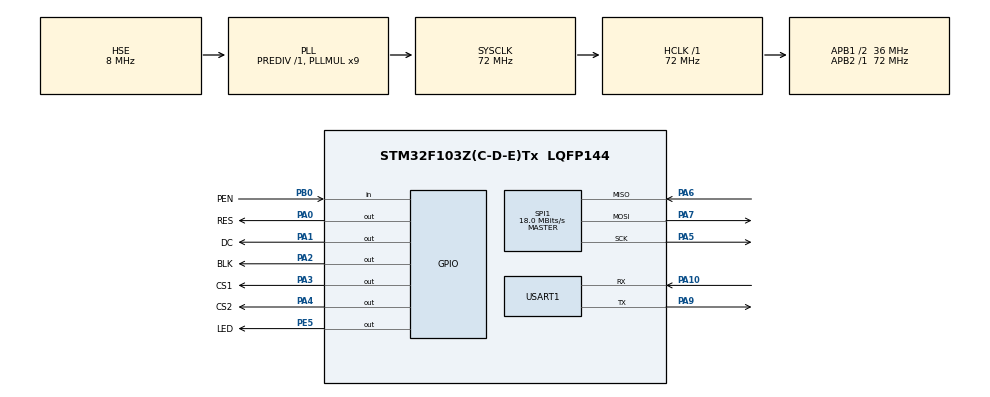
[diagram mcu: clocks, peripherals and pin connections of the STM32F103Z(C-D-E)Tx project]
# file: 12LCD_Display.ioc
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Mcu.Family=STM32F1
Mcu.Name=STM32F103Z(C-D-E)Tx
Mcu.Package=LQFP144
NVIC.PriorityGroup=NVIC_PRIORITYGROUP_4
NVIC.TIM6_IRQn=true\:0\:0\:false\:false\:true\:true\:true\:true
OSC_IN.Mode=HSE-External-Oscillator
OSC_IN.Signal=RCC_OSC_IN
OSC_OUT.Mode=HSE-External-Oscillator
OSC_OUT.Signal=RCC_OSC_OUT
PA0-WKUP.GPIO_Label=RES
PA0-WKUP.GPIO_PuPd=GPIO_PULLUP
PA0-WKUP.PinState=GPIO_PIN_SET
PA0-WKUP.Signal=GPIO_Output
PA1.GPIO_Label=DC
PA1.GPIO_PuPd=GPIO_PULLUP
PA1.PinState=GPIO_PIN_SET
PA1.Signal=GPIO_Output
PA10.Mode=Asynchronous
PA10.Signal=USART1_RX
PA13.Mode=Serial_Wire
PA13.Signal=SYS_JTMS-SWDIO
PA14.Mode=Serial_Wire
PA14.Signal=SYS_JTCK-SWCLK
PA2.GPIO_Label=BLK
PA2.GPIO_PuPd=GPIO_PULLUP
PA2.PinState=GPIO_PIN_SET
PA2.Signal=GPIO_Output
PA3.GPIO_Label=CS1
PA3.GPIO_PuPd=GPIO_PULLUP
PA3.PinState=GPIO_PIN_SET
PA3.Signal=GPIO_Output
PA4.GPIO_Label=CS2
PA4.GPIO_PuPd=GPIO_PULLUP
PA4.PinState=GPIO_PIN_SET
PA4.Signal=GPIO_Output
PA5.Mode=Full_Duplex_Master
PA5.Signal=SPI1_SCK
PA6.Mode=Full_Duplex_Master
PA6.Signal=SPI1_MISO
PA7.Mode=Full_Duplex_Master
PA7.Signal=SPI1_MOSI
PA9.Mode=Asynchronous
PA9.Signal=USART1_TX
PB0.GPIO_Label=PEN
PB0.GPIO_PuPd=GPIO_PULLUP
PB0.Signal=GPIO_Input
PE5.GPIO_Label=LED
PE5.GPIO_ModeDefaultOutputPP=GPIO_MODE_OUTPUT_PP
PE5.GPIO_PuPd=GPIO_PULLUP
PE5.PinState=GPIO_PIN_SET
PE5.Signal=GPIO_Output
ProjectManager.HeapSize=0x200
ProjectManager.StackSize=0x700
ProjectManager.TargetToolchain=MDK-ARM V5.32
RCC.AHBFreq_Value=72000000
RCC.APB1CLKDivider=RCC_HCLK_DIV2
RCC.APB1Freq_Value=36000000
RCC.APB1TimFreq_Value=72000000
RCC.APB2Freq_Value=72000000
RCC.APB2TimFreq_Value=72000000
RCC.HCLKFreq_Value=72000000
RCC.PLLMUL=RCC_PLL_MUL9
RCC.PLLSourceVirtual=RCC_PLLSOURCE_HSE
RCC.SYSCLKFreq_VALUE=72000000
RCC.SYSCLKSource=RCC_SYSCLKSOURCE_PLLCLK
RCC.USBFreq_Value=72000000
SPI1.BaudRatePrescaler=SPI_BAUDRATEPRESCALER_4
SPI1.CalculateBaudRate=18.0 MBits/s
SPI1.Direction=SPI_DIRECTION_2LINES
SPI1.Mode=SPI_MODE_MASTER
SPI1.VirtualType=VM_MASTER
TIM6.AutoReloadPreload=TIM_AUTORELOAD_PRELOAD_ENABLE
TIM6.Period=999
TIM6.Prescaler=71
USART1.VirtualMode=VM_ASYNC
VP_TIM6_VS_ClockSourceINT.Mode=Enable_Timer
board=custom

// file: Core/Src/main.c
/* USER CODE BEGIN Header */
/**
  ******************************************************************************
  * @file           : main.c
  * @brief          : Main program body
  ******************************************************************************
  * @attention
  *
  * Copyright (c) 2024 STMicroelectronics.
  * All rights reserved.
  *
  * This software is licensed under terms that can be found in the LICENSE file
  * in the root directory of this software component.
  * If no LICENSE file comes with this software, it is provided AS-IS.
  *
  ******************************************************************************
  */
/* USER CODE END Header */
#include "main.h"
#include "spi.h"
#include "tim.h"
#include "usart.h"
#include "gpio.h"

/* USER CODE BEGIN Includes */
#include "lcd_init.h"
#include "lcd.h"
#include "pic.h"
#include "touch.h"
#include "lvgl.h"
#include "lv_port_disp_template.h"
#include "lv_port_indev_template.h"
#include "lv_demo_stress.h"
#include "lv_demo_widgets.h"
#include "ui.h"
/* USER CODE END Includes */

void SystemClock_Config(void);

int main(void)
{

  /* USER CODE BEGIN 1 */
	u8 i,j;
	float t=0;
	u16 lastpos[2];//最后一次的数据
	lastpos[0]=0XFFFF;
	uint16_t lcd_color;
  /* USER CODE END 1 */

  /* MCU Configuration--------------------------------------------------------*/

  /* Reset of all peripherals, Initializes the Flash interface and the Systick. */
  HAL_Init();

  /* Configure the system clock */
  SystemClock_Config();

  /* Initialize all configured peripherals */
  MX_GPIO_Init();
  MX_SPI1_Init();
  MX_USART1_UART_Init();
  MX_TIM6_Init();
  /* USER CODE BEGIN 2 */
	HAL_TIM_Base_Start_IT(&htim6);

	lv_init();
	lv_port_disp_init();
	lv_port_indev_init();
	//lv_demo_widgets();
	ui_init();
	//lv_demo_stress();

  /* USER CODE END 2 */

  /* Infinite loop */
  /* USER CODE BEGIN WHILE */
  while (1)
  {

		lv_timer_handler();
		HAL_Delay(5);

    /* USER CODE END WHILE */

  }
}

void SystemClock_Config(void)
{
  RCC_OscInitTypeDef RCC_OscInitStruct = {0};
  RCC_ClkInitTypeDef RCC_ClkInitStruct = {0};

  /** Initializes the RCC Oscillators according to the specified parameters
  * in the RCC_OscInitTypeDef structure.
  */
  RCC_OscInitStruct.OscillatorType = RCC_OSCILLATORTYPE_HSE;
  RCC_OscInitStruct.HSEState = RCC_HSE_ON;
  RCC_OscInitStruct.HSEPredivValue = RCC_HSE_PREDIV_DIV1;
  RCC_OscInitStruct.HSIState = RCC_HSI_ON;
  RCC_OscInitStruct.PLL.PLLState = RCC_PLL_ON;
  RCC_OscInitStruct.PLL.PLLSource = RCC_PLLSOURCE_HSE;
  RCC_OscInitStruct.PLL.PLLMUL = RCC_PLL_MUL9;
  if (HAL_RCC_OscConfig(&RCC_OscInitStruct) != HAL_OK)
  {
    Error_Handler();
  }

  /** Initializes the CPU, AHB and APB buses clocks
  */
  RCC_ClkInitStruct.ClockType = RCC_CLOCKTYPE_HCLK|RCC_CLOCKTYPE_SYSCLK
                              |RCC_CLOCKTYPE_PCLK1|RCC_CLOCKTYPE_PCLK2;
  RCC_ClkInitStruct.SYSCLKSource = RCC_SYSCLKSOURCE_PLLCLK;
  RCC_ClkInitStruct.AHBCLKDivider = RCC_SYSCLK_DIV1;
  RCC_ClkInitStruct.APB1CLKDivider = RCC_HCLK_DIV2;
  RCC_ClkInitStruct.APB2CLKDivider = RCC_HCLK_DIV1;

  if (HAL_RCC_ClockConfig(&RCC_ClkInitStruct, FLASH_LATENCY_2) != HAL_OK)
  {
    Error_Handler();
  }
}

/* USER CODE BEGIN 4 */
void HAL_TIM_PeriodElapsedCallback(TIM_HandleTypeDef *htim)
{
	if (htim->Instance == TIM6)
	{
	 	lv_tick_inc(1);
	}

}
/* USER CODE END 4 */

void Error_Handler(void)
{
  __disable_irq();
  while (1)
  {
  }
}
